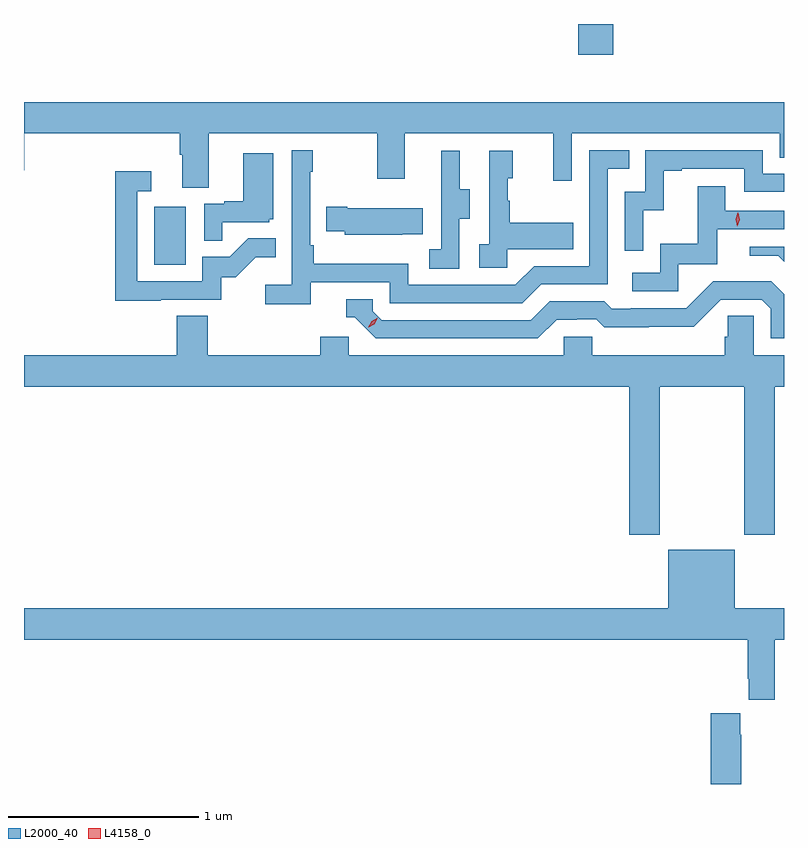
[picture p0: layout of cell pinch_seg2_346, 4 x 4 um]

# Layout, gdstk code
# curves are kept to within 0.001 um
import gdstk
lib = gdstk.Library(unit=1e-6, precision=1e-09)
def R(c, l, rs):  # rectangles x0, y0, x1, y1
    for r in rs: c.add(gdstk.rectangle(r[:2], r[2:], *l))
def P(c, l, *ps):  # polygons
    for p in ps: c.add(gdstk.Polygon(p, *l))
L2000_40 = (2000, 40)
L4158_0 = (4158, 0)

pinch_seg2_346 = lib.new_cell('pinch_seg2_346')
R(pinch_seg2_346, L2000_40, [(998.042,629.628,998.206,629.935), (1000.274,630.735,1000.457,630.896)])
P(pinch_seg2_346, L2000_40, [(998.329,630.32),(999.214,630.32),(999.214,630.081),(999.361,630.081),(999.361,630.32),(1000.142,630.32),(1000.142,630.072),(1000.239,630.072),(1000.239,630.32),(1001.334,630.32),(1001.334,630.193),(1001.356,630.193),(1001.356,630.484),(997.356,630.484),(997.356,630.126),(997.358,630.126),(997.358,630.32),(998.177,630.32),(998.177,630.208),(998.189,630.208),(998.189,630.034),(998.329,630.034)],
  [(998.864,629.538),(999.282,629.538),(999.282,629.427),(999.979,629.427),(1000.078,629.526),(1000.428,629.526),(1000.428,630.135),(1000.541,630.135),(1000.541,630.231),(1000.332,630.231),(1000.332,629.622),(1000.041,629.622),(999.942,629.523),(999.378,629.523),(999.378,629.635),(998.882,629.635),(998.882,629.731),(998.862,629.731),(998.862,630.119),(998.875,630.119),(998.875,630.232),(998.766,630.232),(998.766,629.524),(998.625,629.524),(998.625,629.422),(998.864,629.422)],
  [(1000.614,629.915),(1000.724,629.915),(1000.724,630.123),(1000.819,630.123),(1000.819,630.135),(1001.148,630.135),(1001.148,630.012),(1001.356,630.012),(1001.356,630.108),(1001.244,630.108),(1001.244,630.231),(1000.626,630.231),(1000.626,630.012),(1000.518,630.012),(1000.518,629.703),(1000.614,629.703)],
  [(999.9,629.711),(1000.247,629.711),(1000.247,629.851),(999.913,629.851),(999.913,629.966),(999.903,629.966),(999.903,630.084),(999.928,630.084),(999.928,630.229),(999.804,630.229),(999.804,629.738),(999.753,629.738),(999.753,629.613),(999.9,629.613)],
  [(999.648,629.872),(999.703,629.872),(999.703,630.027),(999.649,630.027),(999.649,630.229),(999.551,630.229),(999.551,630.015),(999.552,630.015),(999.552,629.711),(999.489,629.711),(999.489,629.608),(999.648,629.608)],
  [(998.399,629.853),(998.646,629.853),(998.646,629.868),(998.668,629.868),(998.668,630.217),(998.51,630.217),(998.51,629.962),(998.411,629.962),(998.411,629.949),(998.304,629.949),(998.304,629.755),(998.399,629.755)],
  [(998.075,629.445),(998.394,629.445),(998.394,629.562),(998.47,629.562),(998.577,629.669),(998.681,629.669),(998.681,629.768),(998.537,629.768),(998.439,629.67),(998.295,629.67),(998.295,629.541),(997.953,629.541),(997.953,630.015),(998.026,630.015),(998.026,630.121),(997.837,630.121),(997.837,629.44),(998.075,629.44)],
  [(1000.8,629.631),(1001.005,629.631),(1001.005,629.817),(1001.356,629.817),(1001.356,629.913),(1001.047,629.913),(1001.047,630.043),(1000.903,630.043),(1000.903,629.74),(1000.704,629.74),(1000.704,629.586),(1000.557,629.586),(1000.557,629.49),(1000.8,629.49)],
  [(999.347,629.789),(999.455,629.789),(999.455,629.926),(999.058,629.926),(999.058,629.934),(998.947,629.934),(998.947,629.804),(999.045,629.804),(999.045,629.786),(999.347,629.786)],
  [(1001.356,629.724),(1001.175,629.724),(1001.175,629.675),(1001.326,629.675),(1001.356,629.645)],
  [(1000.159,629.34),(1000.266,629.34),(1000.266,629.343),(1000.369,629.343),(1000.411,629.301),(1000.644,629.301),(1000.644,629.303),(1000.88,629.303),(1001.022,629.445),(1001.238,629.445),(1001.286,629.397),(1001.286,629.241),(1001.356,629.241),(1001.356,629.474),(1001.288,629.542),(1000.983,629.541),(1000.842,629.4),(1000.549,629.4),(1000.549,629.397),(1000.45,629.397),(1000.411,629.436),(1000.122,629.436),(1000.023,629.337),(999.24,629.337),(999.192,629.385),(999.192,629.448),(999.053,629.448),(999.053,629.352),(999.096,629.352),(999.207,629.241),(1000.06,629.241)],
  [(1000.701,628.988),(1001.146,628.988),(1001.146,628.209),(1001.306,628.209),(1001.306,628.988),(1001.356,628.988),(1001.356,629.152),(1001.196,629.152),(1001.196,629.36),(1001.059,629.36),(1001.059,629.25),(1001.045,629.25),(1001.045,629.152),(1000.347,629.152),(1000.347,629.25),(1000.197,629.25),(1000.197,629.152),(999.066,629.152),(999.066,629.25),(998.915,629.25),(998.915,629.152),(998.324,629.152),(998.324,629.36),(998.159,629.36),(998.159,629.152),(997.356,629.152),(997.356,628.988),(1000.541,628.988),(1000.541,628.209),(1000.701,628.209)],
  [(1001.308,627.656),(1001.356,627.656),(1001.356,627.82),(1001.098,627.82),(1001.098,628.129),(1000.748,628.129),(1000.748,627.82),(997.356,627.82),(997.356,627.656),(1001.165,627.656),(1001.165,627.451),(1001.171,627.451),(1001.171,627.339),(1001.308,627.339)],
  [(1001.13,627.155),(1001.125,627.155),(1001.125,627.268),(1000.97,627.268),(1000.97,626.896),(1001.13,626.896)])
P(pinch_seg2_346, L4158_0, [(999.169,629.299),(999.169,629.299),(999.186,629.331),(999.217,629.35),(999.217,629.35),(999.217,629.35),(999.2,629.317),(999.17,629.299)],
  [(1001.111,629.831),(1001.111,629.831),(1001.102,629.868),(1001.113,629.903),(1001.114,629.903),(1001.114,629.903),(1001.122,629.867),(1001.111,629.831)])

lib.write_gds('pinch_seg2_346.gds')
